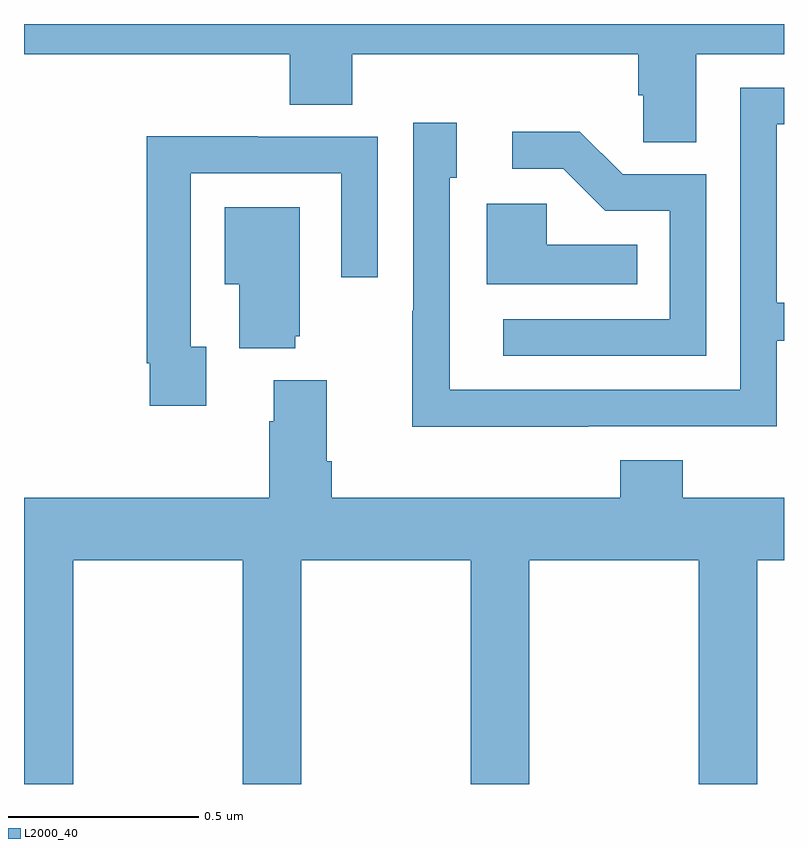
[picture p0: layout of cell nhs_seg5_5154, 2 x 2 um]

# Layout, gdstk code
import gdstk
lib = gdstk.Library(unit=1e-6, precision=1e-09)
def P(c, l, *ps):  # polygons
    for p in ps: c.add(gdstk.Polygon(p, *l))
L2000_40 = (2000, 40)

nhs_seg5_5154 = lib.new_cell('nhs_seg5_5154')
P(nhs_seg5_5154, L2000_40, [(180.769,896.72),(181,896.72),(181,896.799),(179,896.799),(179,896.72),(179.699,896.72),(179.699,896.587),(179.864,896.587),(179.864,896.72),(180.617,896.72),(180.617,896.611),(180.63,896.611),(180.63,896.488),(180.769,896.488)],
  [(180.485,895.74),(180.981,895.74),(180.981,895.965),(181,895.965),(181,896.066),(180.981,896.066),(180.981,896.535),(181,896.535),(181,896.631),(180.885,896.631),(180.885,895.836),(180.121,895.836),(180.121,896.09),(180.12,896.09),(180.12,896.394),(180.139,896.394),(180.139,896.539),(180.024,896.539),(180.024,896.045),(180.022,896.045),(180.022,895.739),(180.485,895.739)],
  [(180.795,896.403),(180.576,896.403),(180.463,896.516),(180.285,896.516),(180.285,896.418),(180.419,896.418),(180.53,896.307),(180.699,896.307),(180.699,896.022),(180.261,896.022),(180.261,895.926),(180.795,895.926)],
  [(179.479,895.95),(179.439,895.95),(179.439,896.406),(179.835,896.406),(179.835,896.133),(179.931,896.133),(179.931,896.502),(179.615,896.502),(179.615,896.504),(179.323,896.504),(179.323,895.906),(179.331,895.906),(179.331,895.794),(179.479,895.794)],
  [(180.614,896.218),(180.375,896.218),(180.375,896.326),(180.218,896.326),(180.218,896.114),(180.614,896.114)],
  [(179.714,895.977),(179.725,895.977),(179.725,896.317),(179.528,896.317),(179.528,896.114),(179.567,896.114),(179.567,895.946),(179.714,895.946)],
  [(179.13,895.388),(179.575,895.388),(179.575,894.799),(179.73,894.799),(179.73,895.388),(180.175,895.388),(180.175,894.799),(180.33,894.799),(180.33,895.388),(180.775,895.388),(180.775,894.799),(180.93,894.799),(180.93,895.388),(181,895.388),(181,895.552),(180.734,895.552),(180.734,895.651),(180.569,895.651),(180.569,895.552),(179.81,895.552),(179.81,895.648),(179.797,895.648),(179.797,895.861),(179.657,895.861),(179.657,895.754),(179.645,895.754),(179.645,895.552),(179,895.552),(179,894.799),(179.13,894.799)])

lib.write_gds('nhs_seg5_5154.gds')
